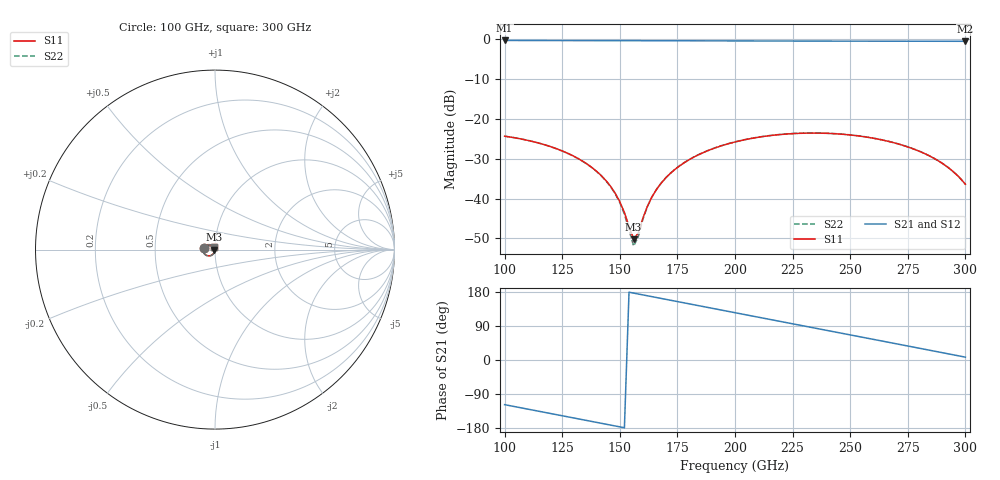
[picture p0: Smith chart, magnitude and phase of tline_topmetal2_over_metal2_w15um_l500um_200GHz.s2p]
#  GHZ S DB R 50
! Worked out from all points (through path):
!   101 points, 100 GHz to 300 GHz, reference 50 ohm
!   highest |S21| = -0.37 dB at 100 GHz (marker M1); lowest = -0.6 dB at 300 GHz (marker M2)
!   group delay of S21, straight-line fit = 3.26 ps
!   lowest |S11| = -50.2 dB at 156 GHz (marker M3), VSWR 1.01, Z = 49.7 + j0.0165 ohm
!   |S11| at or under -10 dB: start of sweep to end of sweep
!   |S22| runs from -51.9 to -23.6 dB; largest |S21 - S12| = 1.1e-14
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100  -24.37 169.0  -0.37 -117.9  -0.37 -117.9  -24.37 169.1
120  -27.00 145.3  -0.39 -141.3  -0.39 -141.3  -27.00 145.2
134  -30.68 130.3  -0.41 -157.7  -0.41 -157.7  -30.70 129.9
142  -34.27 123.7  -0.41 -167.1  -0.41 -167.1  -34.33 122.8
148  -38.66 122.6  -0.42 -174.1  -0.42 -174.1  -38.81 120.6
152  -43.51 129.8  -0.42 -178.8  -0.42 -178.8  -43.92 126.3
156  -50.17 176.9  -0.43 176.5  -0.43 176.5  -51.94 177.3
158  -48.65 -140.0  -0.43 174.2  -0.43 174.2  -49.60 -132.3
160  -44.94 -119.5  -0.43 171.8  -0.43 171.8  -45.23 -113.2
162  -41.89 -111.6  -0.43 169.5  -0.43 169.5  -41.99 -106.8
168  -36.10 -107.7  -0.44 162.4  -0.44 162.4  -36.08 -104.8
174  -32.67 -111.1  -0.45 155.4  -0.45 155.4  -32.64 -108.9
180  -30.30 -116.4  -0.46 148.3  -0.46 148.3  -30.26 -114.6
200  -25.82 -137.6  -0.48 124.8  -0.48 124.8  -25.78 -136.2
218  -24.05 -157.8  -0.51 103.7  -0.51 103.7  -24.02 -156.5
234  -23.59 -175.9  -0.53 85.0  -0.53 85.0  -23.56 -174.7
250  -24.07 166.1  -0.55 66.2  -0.55 66.2  -24.04 167.3
268  -25.87 146.5  -0.56 45.1  -0.56 45.1  -25.85 147.6
278  -27.69 136.3  -0.57 33.4  -0.57 33.4  -27.67 137.3
288  -30.46 127.3  -0.57 21.6  -0.57 21.6  -30.45 128.2
294  -32.89 123.5  -0.58 14.6  -0.58 14.6  -32.90 124.2
300  -36.41 123.1  -0.58 7.5  -0.58 7.5  -36.46 123.3
